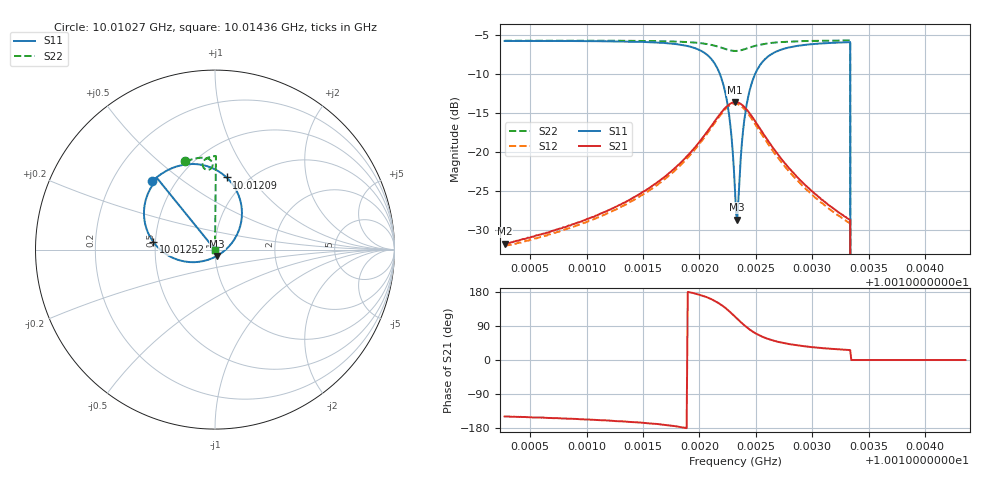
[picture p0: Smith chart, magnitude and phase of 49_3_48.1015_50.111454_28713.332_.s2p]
#  HZ  S  RI  R  50.00
! Rohde & Schwarz Vector Network Analyzer
! Rohde-Schwarz,ZNB20-2Port,1311601062101988,3.16
! Created: UTC 12/23/2023, 3:39:34 AM
! freq[Hz]  re:S11  im:S11  re:S21  im:S21  re:S12  im:S12  re:S22  im:S22
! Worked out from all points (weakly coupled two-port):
!   401 points, 10.01027 GHz to 10.01436 GHz, reference 50 ohm
!   highest |S21| = -13.58 dB at 10.01232 GHz (marker M1); lowest = -31.8 dB at 10.01027 GHz (marker M2)
!   lowest |S11| = -28.7 dB at 10.01234 GHz (marker M3), VSWR 1.08, Z = 51 - j3.58 ohm
!   |S11| at or under -10 dB: 10.01218 GHz to 10.01249 GHz (311.1 kHz wide, 0.00311 % of centre); 10.01334 GHz to end of sweep
!   |S22| runs from - to -5.7 dB; largest |S21 - S12| = 0.0097
!   S11 on the Smith chart (normalised r, x): 10.01027 GHz: 0.37, +0.39; 10.01209 GHz: 0.80, +0.78; 10.01252 GHz: 0.49, +0.05; 10.01436 GHz: 1.00, +0.00
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1.0010273e10  -0.3488 0.3818  -0.022 -0.0132  -0.0205 -0.014  -0.1644 0.4925
1.0010957e10  -0.2925 0.4256  -0.0329 -0.0142  -0.0309 -0.0155  -0.119 0.5057
1.0011641e10  -0.1798 0.4717  -0.0637 -0.0119  -0.061 -0.0147  -0.0661 0.5118
1.0011937e10  -0.0548 0.4679  -0.1023 0.00511  -0.0993 -0.000529  -0.0357 0.5054
1.0012091e10  0.0642 0.4021  -0.1354 0.0424  -0.1339 0.0344  -0.0181 0.4904
1.0012172e10  0.132 0.3013  -0.1476 0.087  -0.1488 0.0777  -0.0128 0.474
1.0012234e10  0.1492 0.1784  -0.1406 0.1332  -0.1433 0.1245  -0.0168 0.4583
1.0012275e10  0.1221 0.0823  -0.1198 0.1661  -0.1239 0.158  -0.025 0.4494
1.0012315e10  0.0566 -0.00306  -0.0862 0.1908  -0.091 0.1834  -0.0371 0.4447
1.0012326e10  0.0339 -0.0206  -0.0761 0.1948  -0.081 0.1878  -0.0406 0.4445
1.0012336e10  0.0114 -0.035  -0.0664 0.1977  -0.0715 0.1908  -0.0438 0.4448
1.0012346e10  -0.0143 -0.0477  -0.0556 0.1998  -0.0609 0.1931  -0.0473 0.4453
1.0012387e10  -0.1174 -0.0702  -0.0157 0.1978  -0.0204 0.1915  -0.0584 0.4509
1.0012418e10  -0.1903 -0.0616  0.0106 0.1878  0.00548 0.1817  -0.0645 0.4578
1.0012458e10  -0.2676 -0.0285  0.0368 0.1682  0.0303 0.1627  -0.0685 0.4677
1.001252e10  -0.3427 0.0413  0.0576 0.1361  0.0514 0.1315  -0.0683 0.4819
1.0012724e10  -0.3948 0.2258  0.0628 0.0657  0.0572 0.0647  -0.0492 0.5069
1.0013e10  -0.3624 0.3354  0.0465 0.0311  0.0426 0.0318  -0.0225 0.5174
1.0013316e10  -0.3225 0.3925  0.0334 0.0165  0.0309 0.0174  0.00353 0.5212
1.0013367e10  0 0  0 0  0 0  0 0
1.0013684e10  0 0  0 0  0 0  0 0
1.0014358e10  0 0  0 0  0 0  0 0
